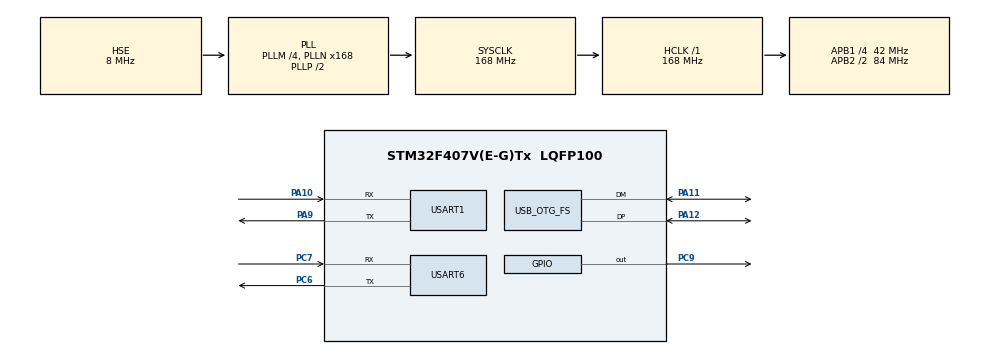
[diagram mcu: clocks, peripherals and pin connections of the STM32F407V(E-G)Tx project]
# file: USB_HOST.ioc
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FATFS._CODE_PAGE=936
FATFS._USE_LFN=2
FREERTOS.Tasks01=defaultTask,0,128,StartDefaultTask,Default,NULL,Dynamic,NULL,NULL
Mcu.Family=STM32F4
Mcu.Name=STM32F407V(E-G)Tx
Mcu.Package=LQFP100
NVIC.OTG_FS_IRQn=true\:5\:0\:true\:false\:true\:true\:false\:true\:true
NVIC.PriorityGroup=NVIC_PRIORITYGROUP_4
NVIC.TIM1_UP_TIM10_IRQn=true\:15\:0\:false\:false\:true\:false\:false\:true\:true
NVIC.TimeBase=TIM1_UP_TIM10_IRQn
NVIC.TimeBaseIP=TIM1
NVIC.USART1_IRQn=true\:5\:0\:false\:false\:true\:true\:true\:true\:true
PA10.Mode=Asynchronous
PA10.Signal=USART1_RX
PA11.Mode=Host_Only
PA11.Signal=USB_OTG_FS_DM
PA12.Mode=Host_Only
PA12.Signal=USB_OTG_FS_DP
PA13.Mode=Serial_Wire
PA13.Signal=SYS_JTMS-SWDIO
PA14.Mode=Serial_Wire
PA14.Signal=SYS_JTCK-SWCLK
PA9.Mode=Asynchronous
PA9.Signal=USART1_TX
PC14-OSC32_IN.Mode=LSE-External-Oscillator
PC14-OSC32_IN.Signal=RCC_OSC32_IN
PC15-OSC32_OUT.Mode=LSE-External-Oscillator
PC15-OSC32_OUT.Signal=RCC_OSC32_OUT
PC6.Mode=Asynchronous
PC6.Signal=USART6_TX
PC7.Mode=Asynchronous
PC7.Signal=USART6_RX
PC9.Signal=GPIO_Output
PH0-OSC_IN.Mode=HSE-External-Oscillator
PH0-OSC_IN.Signal=RCC_OSC_IN
PH1-OSC_OUT.Mode=HSE-External-Oscillator
PH1-OSC_OUT.Signal=RCC_OSC_OUT
ProjectManager.HeapSize=0x1000
ProjectManager.StackSize=0x1000
ProjectManager.TargetToolchain=MDK-ARM V5.27
RCC.48MHZClocksFreq_Value=48000000
RCC.AHBFreq_Value=168000000
RCC.APB1CLKDivider=RCC_HCLK_DIV4
RCC.APB1Freq_Value=42000000
RCC.APB1TimFreq_Value=84000000
RCC.APB2CLKDivider=RCC_HCLK_DIV2
RCC.APB2Freq_Value=84000000
RCC.APB2TimFreq_Value=168000000
RCC.CortexFreq_Value=168000000
RCC.HCLKFreq_Value=168000000
RCC.HSE_VALUE=8000000
RCC.HSI_VALUE=16000000
RCC.PLLM=4
RCC.PLLN=168
RCC.PLLQ=7
RCC.SYSCLKFreq_VALUE=168000000
RCC.SYSCLKSource=RCC_SYSCLKSOURCE_PLLCLK
RCC.VCOOutputFreq_Value=336000000
USART1.VirtualMode=VM_ASYNC
USART6.VirtualMode=VM_ASYNC
USB_HOST.BSP.number=1
USB_HOST.USBH_HandleTypeDef-MSC_FS=hUsbHostFS
USB_HOST.USBH_USE_OS-MSC_FS=0
USB_HOST.VirtualModeFS=Msc
USB_HOST0.BSP.STBoard=false
USB_HOST0.BSP.api=Unknown
USB_HOST0.BSP.instance=PC9
USB_HOST0.BSP.ip=GPIO
USB_HOST0.BSP.mode=Output
USB_HOST0.BSP.name=Drive_VBUS_FS
USB_HOST0.BSP.solution=PC9
USB_OTG_FS.VirtualMode=Host_Only
USB_OTG_FS.phy_itface=HCD_PHY_EMBEDDED
VP_FATFS_VS_USB.Mode=USB
VP_FREERTOS_VS_CMSIS_V1.Mode=CMSIS_V1
VP_SYS_VS_tim1.Mode=TIM1
VP_USB_HOST_VS_USB_HOST_MSC_FS.Mode=MSC_FS
board=custom

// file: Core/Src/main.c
/* USER CODE BEGIN Header */
/**
  ******************************************************************************
  * @file           : main.c
  * @brief          : Main program body
  ******************************************************************************
  * @attention
  *
  * Copyright (c) 2024 STMicroelectronics.
  * All rights reserved.
  *
  * This software is licensed under terms that can be found in the LICENSE file
  * in the root directory of this software component.
  * If no LICENSE file comes with this software, it is provided AS-IS.
  *
  ******************************************************************************
  */
/* USER CODE END Header */
#include "main.h"
#include "cmsis_os.h"
#include "fatfs.h"
#include "usart.h"
#include "usb_host.h"
#include "gpio.h"

/* USER CODE BEGIN Includes */
#include "menu.h"
/* USER CODE END Includes */

/* USER CODE BEGIN PTD */
//中断向量表地址及偏移量
#define NVIC_VectTab_FLASH           ((uint32_t)0x8040000)
#define BOOT_SIZE	0x40000
void NVIC_SetVectorTable(uint32_t NVIC_VectTab, uint32_t Offset)
{
  /* Check the parameters */
  assert_param(IS_NVIC_VECTTAB(NVIC_VectTab));
  assert_param(IS_NVIC_OFFSET(Offset));

  SCB->VTOR = FLASH_BASE | BOOT_SIZE;
}
/* USER CODE END PTD */

void SystemClock_Config(void);
void MX_FREERTOS_Init(void);

/* USER CODE BEGIN 0 */

extern ApplicationTypeDef Appli_state;
extern USBH_HandleTypeDef hUsbHostFS;
extern char USBHPath[4]; // USBH logical drive path

FATFS FatfsUDisk; // File system object for USB disk logical drive
FIL myFile; // File object
// //U盘应用函数
//static void MSC_Application(void)
//{
//    FRESULT fres; // FatFs function common result code
//    uint32_t byteswrite;
//	uint32_t bytesread;
//    uint8_t str[] = "hello world!";
//	uint8_t datebuff[1024];
//    /* Register the file system object to the FatFs module */
//    if( f_mount(&FatfsUDisk, (TCHAR const*)USBHPath, 0) != FR_OK)
//    {
//        Error_Handler(); //FatFs Initialization Error
//    }
//    else
//    {
//		 if(f_open(&myFile, "APP.bin",  FA_READ) != FR_OK)
//        {
//            Error_Handler(); //'STM32.TXT' file Open for write Error
//        }
//		  else
//		{
//			fres = f_read(&myFile, datebuff, 1024, (void *)&bytesread);
//			for(int i=0;i<1023;i++)
//			printf("0x%02X ",datebuff[i]);
//		}
//
//        /* Create and Open a new text file object with write access */
////        if(f_open(&myFile, "test.txt", FA_CREATE_ALWAYS | FA_WRITE) != FR_OK)
////        {
////            Error_Handler(); //'STM32.TXT' file Open for write Error
////        }
////        else
////        {
////            fres = f_write(&myFile, str, sizeof(str), (void *)&byteswrite);
////            if(byteswrite == 0 || (fres != FR_OK))
////            {
////                Error_Handler();
////            }
////            else
////            {
////                f_close(&myFile); //Close the open text file
////            }
////        }
//    }
//}

/* USER CODE END 0 */

int main(void)
{
  /* USER CODE BEGIN 1 */
   NVIC_SetVectorTable(NVIC_VectTab_FLASH, BOOT_SIZE);//中断向量表偏移
  /* USER CODE END 1 */

  /* MCU Configuration--------------------------------------------------------*/

  /* Reset of all peripherals, Initializes the Flash interface and the Systick. */
  HAL_Init();

  /* Configure the system clock */
  SystemClock_Config();

  /* Initialize all configured peripherals */
  MX_GPIO_Init();
  MX_USART1_UART_Init();
  MX_USART6_UART_Init();
  MX_FATFS_Init();

  /* Call init function for freertos objects (in freertos.c) */
  MX_FREERTOS_Init();

  /* Start scheduler */
  osKernelStart();

  /* We should never get here as control is now taken by the scheduler */
  /* Infinite loop */
  while (1)
  {

  }
}

void SystemClock_Config(void)
{
  RCC_OscInitTypeDef RCC_OscInitStruct = {0};
  RCC_ClkInitTypeDef RCC_ClkInitStruct = {0};

  /** Configure the main internal regulator output voltage
  */
  __HAL_RCC_PWR_CLK_ENABLE();
  __HAL_PWR_VOLTAGESCALING_CONFIG(PWR_REGULATOR_VOLTAGE_SCALE1);

  /** Initializes the RCC Oscillators according to the specified parameters
  * in the RCC_OscInitTypeDef structure.
  */
  RCC_OscInitStruct.OscillatorType = RCC_OSCILLATORTYPE_HSE;
  RCC_OscInitStruct.HSEState = RCC_HSE_ON;
  RCC_OscInitStruct.PLL.PLLState = RCC_PLL_ON;
  RCC_OscInitStruct.PLL.PLLSource = RCC_PLLSOURCE_HSE;
  RCC_OscInitStruct.PLL.PLLM = 4;
  RCC_OscInitStruct.PLL.PLLN = 168;
  RCC_OscInitStruct.PLL.PLLP = RCC_PLLP_DIV2;
  RCC_OscInitStruct.PLL.PLLQ = 7;
  if (HAL_RCC_OscConfig(&RCC_OscInitStruct) != HAL_OK)
  {
    Error_Handler();
  }

  /** Initializes the CPU, AHB and APB buses clocks
  */
  RCC_ClkInitStruct.ClockType = RCC_CLOCKTYPE_HCLK|RCC_CLOCKTYPE_SYSCLK
                              |RCC_CLOCKTYPE_PCLK1|RCC_CLOCKTYPE_PCLK2;
  RCC_ClkInitStruct.SYSCLKSource = RCC_SYSCLKSOURCE_PLLCLK;
  RCC_ClkInitStruct.AHBCLKDivider = RCC_SYSCLK_DIV1;
  RCC_ClkInitStruct.APB1CLKDivider = RCC_HCLK_DIV4;
  RCC_ClkInitStruct.APB2CLKDivider = RCC_HCLK_DIV2;

  if (HAL_RCC_ClockConfig(&RCC_ClkInitStruct, FLASH_LATENCY_5) != HAL_OK)
  {
    Error_Handler();
  }
}

void HAL_TIM_PeriodElapsedCallback(TIM_HandleTypeDef *htim)
{
  if (htim->Instance == TIM1) {
    HAL_IncTick();
  }
}

void Error_Handler(void)
{
  __disable_irq();
  while (1)
  {
  }
}

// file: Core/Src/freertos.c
/* USER CODE BEGIN Header */
/**
  ******************************************************************************
  * File Name          : freertos.c
  * Description        : Code for freertos applications
  ******************************************************************************
  * @attention
  *
  * Copyright (c) 2024 STMicroelectronics.
  * All rights reserved.
  *
  * This software is licensed under terms that can be found in the LICENSE file
  * in the root directory of this software component.
  * If no LICENSE file comes with this software, it is provided AS-IS.
  *
  ******************************************************************************
  */
/* USER CODE END Header */

#include "FreeRTOS.h"
#include "task.h"
#include "main.h"
#include "cmsis_os.h"

/* USER CODE BEGIN Includes */
#include "stdio.h"
/* USER CODE END Includes */

osThreadId defaultTaskHandle;

void StartDefaultTask(void const * argument);

extern void MX_USB_HOST_Init(void);
void MX_FREERTOS_Init(void); /* (MISRA C 2004 rule 8.1) */

/* GetIdleTaskMemory prototype (linked to static allocation support) */
void vApplicationGetIdleTaskMemory( StaticTask_t **ppxIdleTaskTCBBuffer, StackType_t **ppxIdleTaskStackBuffer, uint32_t *pulIdleTaskStackSize );

/* USER CODE BEGIN GET_IDLE_TASK_MEMORY */
static StaticTask_t xIdleTaskTCBBuffer;
static StackType_t xIdleStack[configMINIMAL_STACK_SIZE];

void vApplicationGetIdleTaskMemory( StaticTask_t **ppxIdleTaskTCBBuffer, StackType_t **ppxIdleTaskStackBuffer, uint32_t *pulIdleTaskStackSize )
{
  *ppxIdleTaskTCBBuffer = &xIdleTaskTCBBuffer;
  *ppxIdleTaskStackBuffer = &xIdleStack[0];
  *pulIdleTaskStackSize = configMINIMAL_STACK_SIZE;
  /* place for user code */
}
/* USER CODE END GET_IDLE_TASK_MEMORY */

void MX_FREERTOS_Init(void) {

  /* Create the thread(s) */
  /* definition and creation of defaultTask */
  osThreadDef(defaultTask, StartDefaultTask, osPriorityNormal, 0, 128);
  defaultTaskHandle = osThreadCreate(osThread(defaultTask), NULL);

}

void StartDefaultTask(void const * argument)
{
  /* init code for USB_HOST */

  /* USER CODE BEGIN StartDefaultTask */
  /* Infinite loop */
  for(;;)
  {
	printf("APP!\r\n");
    osDelay(1000);
  }
  /* USER CODE END StartDefaultTask */
}
